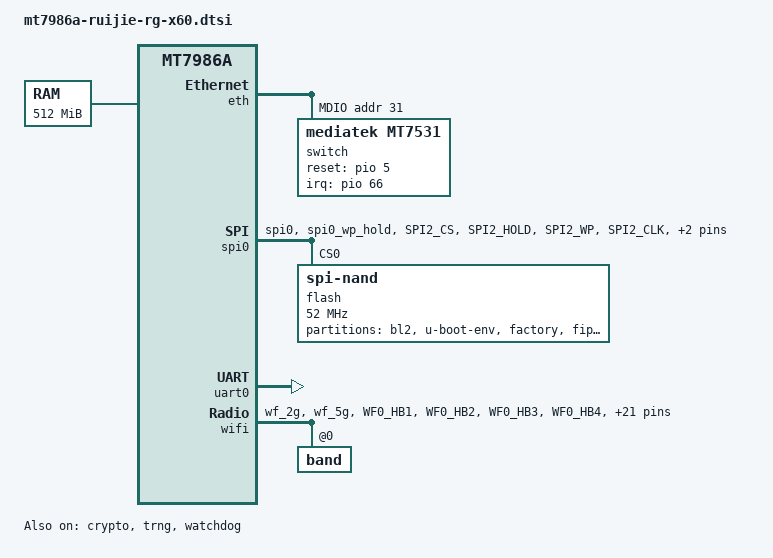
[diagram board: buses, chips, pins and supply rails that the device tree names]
// SPDX-License-Identifier: GPL-2.0-or-later OR MIT

/dts-v1/;
#include <dt-bindings/gpio/gpio.h>
#include <dt-bindings/input/input.h>
#include <dt-bindings/leds/common.h>
#include <dt-bindings/pinctrl/mt65xx.h>

#include "mt7986a.dtsi"

/ {
	aliases {
		label-mac-device = &gmac1;
		serial0 = &uart0;
	};

	chosen {
		stdout-path = "serial0:115200n8";
	};

	memory@40000000 {
		reg = <0 0x40000000 0 0x20000000>;
		device_type = "memory";
	};
};

&crypto {
	status = "okay";
};

&eth {
	status = "okay";

	gmac0: mac@0 {
		compatible = "mediatek,eth-mac";
		reg = <0>;
		phy-mode = "2500base-x";

		nvmem-cells = <&macaddr_product_info 1>;
		nvmem-cell-names = "mac-address";

		fixed-link {
			speed = <2500>;
			full-duplex;
			pause;
		};
	};

	gmac1: mac@1 {
		compatible = "mediatek,eth-mac";
		reg = <1>;
		phy-mode = "2500base-x";

		nvmem-cells = <&macaddr_product_info 0>;
		nvmem-cell-names = "mac-address";
	};

	mdio: mdio-bus {
		#address-cells = <1>;
		#size-cells = <0>;
	};
};

&mdio {
	switch: switch@1f {
		compatible = "mediatek,mt7531";
		reg = <31>;
		reset-gpios = <&pio 5 GPIO_ACTIVE_HIGH>;
		interrupt-controller;
		#interrupt-cells = <1>;
		interrupt-parent = <&pio>;
		interrupts = <66 IRQ_TYPE_LEVEL_HIGH>;
	};
};

&pio {
	spi_flash_pins: spi-flash-pins-33-to-38 {
		mux {
			function = "spi";
			groups = "spi0", "spi0_wp_hold";
		};
		conf-pu {
			pins = "SPI2_CS", "SPI2_HOLD", "SPI2_WP";
			drive-strength = <MTK_DRIVE_8mA>;
			bias-disable; /* bias-disable */
		};
		conf-pd {
			pins = "SPI2_CLK", "SPI2_MOSI", "SPI2_MISO";
			drive-strength = <MTK_DRIVE_8mA>;
			bias-disable; /* bias-disable */
		};
	};

	wf_2g_5g_pins: wf-2g-5g-pins {
		mux {
			function = "wifi";
			groups = "wf_2g", "wf_5g";
		};
		conf {
			pins = "WF0_HB1", "WF0_HB2", "WF0_HB3", "WF0_HB4",
			       "WF0_HB0", "WF0_HB0_B", "WF0_HB5", "WF0_HB6",
			       "WF0_HB7", "WF0_HB8", "WF0_HB9", "WF0_HB10",
			       "WF0_TOP_CLK", "WF0_TOP_DATA", "WF1_HB1",
			       "WF1_HB2", "WF1_HB3", "WF1_HB4", "WF1_HB0",
			       "WF1_HB5", "WF1_HB6", "WF1_HB7", "WF1_HB8",
			       "WF1_TOP_CLK", "WF1_TOP_DATA";
			drive-strength = <MTK_DRIVE_4mA>;
		};
	};
};

&spi0 {
	pinctrl-names = "default";
	pinctrl-0 = <&spi_flash_pins>;
	status = "okay";

	flash@0 {
		compatible = "spi-nand";
		reg = <0>;

		spi-max-frequency = <52000000>;
		spi-tx-bus-width = <4>;
		spi-rx-bus-width = <4>;

		mediatek,nmbm;
		mediatek,bmt-max-ratio = <1>;
		mediatek,bmt-max-reserved-blocks = <64>;

		partitions {
			compatible = "fixed-partitions";
			#address-cells = <1>;
			#size-cells = <1>;

			partition@0 {
				label = "bl2";
				reg = <0x0 0x100000>;
				read-only;
			};

			partition@100000 {
				label = "u-boot-env";
				reg = <0x100000 0x80000>;
				read-only;
			};

			partition@180000 {
				label = "factory";
				reg = <0x180000 0x200000>;
				read-only;

				nvmem-layout {
					compatible = "fixed-layout";
					#address-cells = <1>;
					#size-cells = <1>;

					eeprom_factory_0: eeprom@0 {
						reg = <0x0 0x1000>;
					};
				};
			};

			partition@380000 {
				label = "fip";
				reg = <0x380000 0x200000>;
				read-only;
			};

			partition@580000 {
				label = "product_info";
				reg = <0x580000 0x80000>;
				read-only;

				nvmem-layout {
					compatible = "u-boot,env";
					env-size = <0x20000>;

					macaddr_product_info: ethaddr {
						#nvmem-cell-cells = <1>;
					};
				};
			};

			partition@600000 {
				label = "kdump";
				reg = <0x600000 0x80000>;
				read-only;
			};

			partition@680000 {
				label = "ubi";
				reg = <0x680000 0x3f00000>;
				compatible = "linux,ubi";
			};
		};
	};
};

&trng {
	status = "okay";
};

&uart0 {
	status = "okay";
};

&watchdog {
	status = "okay";
};

&wifi {
	#address-cells = <1>;
	#size-cells = <0>;
	nvmem-cells = <&eeprom_factory_0>;
	nvmem-cell-names = "eeprom";
	pinctrl-names = "default";
	pinctrl-0 = <&wf_2g_5g_pins>;
	status = "okay";

	band@0 {
		reg = <0>;
		nvmem-cells = <&macaddr_product_info 2>;
		nvmem-cell-names = "mac-address";
	};
};
